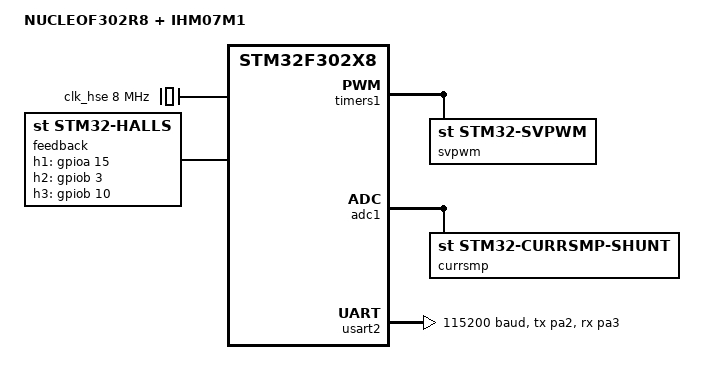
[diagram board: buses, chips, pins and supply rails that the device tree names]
/*
 * Copyright (c) 2021 Teslabs Engineering S.L.
 *
 * SPDX-License-Identifier: Apache-2.0
 */

/dts-v1/;
#include <st/f3/stm32f302X8.dtsi>
#include <st/f3/stm32f302r(6-8)tx-pinctrl.dtsi>
#include <dts-bindings/adc/stm32f3xx.h>

/ {
	model = "NUCLEOF302R8 + IHM07M1";

	chosen {
		zephyr,console = &usart2;
		zephyr,shell-uart = &usart2;
		zephyr,sram = &sram0;
		zephyr,flash = &flash0;
	};
};

&clk_hse {
	hse-bypass;
	clock-frequency = <DT_FREQ_M(8)>; /* STLink 8MHz clock */
	status = "okay";
};

&pll {
	prediv = <1>;
	mul = <9>;
	clocks = <&clk_hse>;
	status = "okay";
};

&rcc {
	clocks = <&pll>;
	clock-frequency = <DT_FREQ_M(72)>;
	ahb-prescaler = <1>;
	apb1-prescaler = <2>;
	apb2-prescaler = <1>;
};

&timers1 {
	svpwm: svpwm {
		compatible = "st,stm32-svpwm";
		pinctrl-0 = <&tim1_ch1_pa8 &tim1_ch2_pa9 &tim1_ch3_pa10 &tim1_ocp_pa11>;
		pinctrl-names = "default";
		currsmp = <&currsmp>;
		driver {
			compatible = "st,l6230";
			enable-gpios = <&gpioc 10 GPIO_ACTIVE_HIGH>,
				       <&gpioc 11 GPIO_ACTIVE_HIGH>,
				       <&gpioc 12 GPIO_ACTIVE_HIGH>;
		};
	};
};

&adc1 {
	currsmp: currsmp {
		compatible = "st,stm32-currsmp-shunt";
		pinctrl-0 = <&adc1_in1_pa0 &adc1_in7_pc1 &adc1_in6_pc0>;
		pinctrl-names = "default";

		adc-resolution = <12>;
		adc-tsample = <2>;
		adc-channels = <1 7 6>;
		adc-trigger = <STM32_ADC_INJ_TRIG_TIM1_TRGO>;
	};
};

&timers2 {
	feedback: feedback {
		compatible = "st,stm32-halls";

		pinctrl-0 = <&tim2_ch1_pa15 &tim2_ch2_pb3 &tim2_ch3_pb10>;
		pinctrl-names = "default";

		h1-gpios = <&gpioa 15 0>;
		h2-gpios = <&gpiob 3 0>;
		h3-gpios = <&gpiob 10 0>;
		phase-shift = <60>;
	};
};

&usart2 {
	status = "okay";
	pinctrl-0 = <&usart2_tx_pa2 &usart2_rx_pa3>;
	pinctrl-names = "default";
	current-speed = <115200>;
};

/* FIXME: missing upstream */
&pinctrl {
	tim1_ocp_pa11: tim1_ocp_pa11 {
		pinmux = <STM32_PINMUX('A', 11, AF12)>;
	};
};
